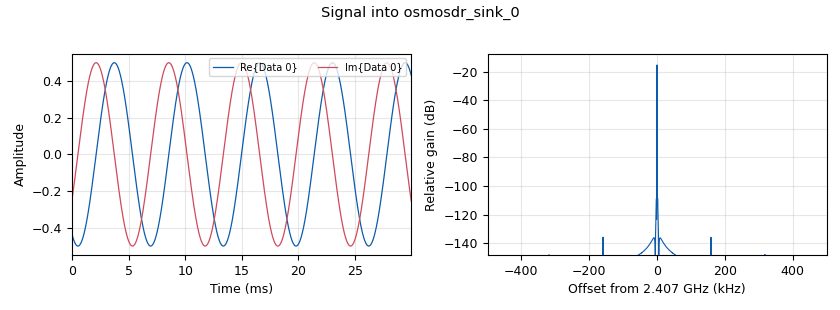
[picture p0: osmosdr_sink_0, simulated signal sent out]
options:
  parameters:
    category: Custom
    generate_options: qt_gui
    id: top_block
    output_language: python
  states: {}

blocks:
- name: Bandwith
  id: variable_qtgui_range
  parameters:
    orient: Qt.Horizontal
    start: 1e5
    step: '100000'
    stop: 20e6
    value: 1e5
    widget: slider
  states: {}
- name: Frequency
  id: variable_qtgui_range
  parameters:
    orient: Qt.Horizontal
    start: 2400e6
    step: 1e6
    stop: 2450e6
    value: 2407e6
    widget: slider
  states: {}
- name: band
  id: variable
  parameters:
    value: '1000000'
  states: {}
- name: sample_rate
  id: variable
  parameters:
    value: int(1000000)
  states: {}
- name: analog_sig_source_x_0
  id: analog_sig_source_x
  parameters:
    amp: '0.5'
    freq: Frequency
    offset: '0'
    phase: '0'
    samp_rate: sample_rate
    type: complex
    waveform: analog.GR_COS_WAVE
  states: {}
- name: osmosdr_sink_0
  id: osmosdr_sink
  parameters:
    args: bladerf=0
    bb_gain0: '2'
    freq0: Frequency
    gain0: '1'
    if_gain0: '2'
    sample_rate: sample_rate
    sync: sync
    type: fc32
  states: {}
- name: osmosdr_source_0
  id: osmosdr_source
  parameters:
    args: bladerf=0
    bb_gain0: '20'
    bw0: band
    freq0: Frequency
    gain0: '20'
    gain_mode0: 'False'
    if_gain0: '20'
    sample_rate: sample_rate
    sync: sync
    type: fc32
  states: {}
- name: qtgui_freq_sink_x_0
  id: qtgui_freq_sink_x
  parameters:
    bw: Bandwith
    fc: Frequency
    fftsize: '1024'
    type: complex
    wintype: firdes.WIN_BLACKMAN_hARRIS
  states: {}

connections:
- [analog_sig_source_x_0, '0', osmosdr_sink_0, '0']
- [osmosdr_source_0, '0', qtgui_freq_sink_x_0, '0']

metadata:
  file_format: 1
